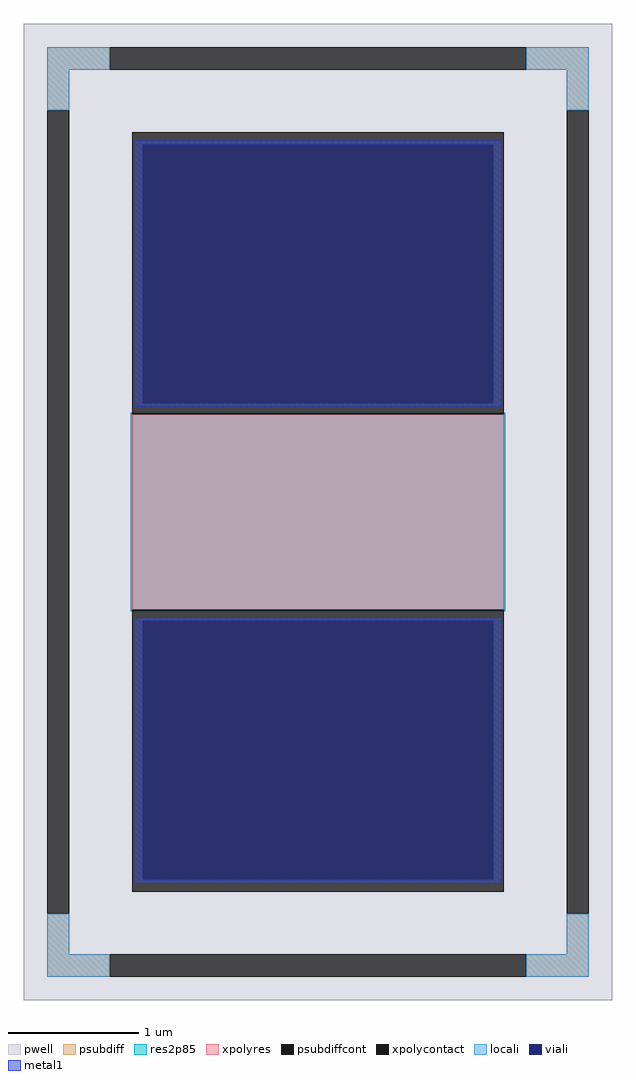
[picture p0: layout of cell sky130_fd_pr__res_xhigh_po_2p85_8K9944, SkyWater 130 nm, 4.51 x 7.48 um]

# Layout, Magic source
magic
tech sky130A
magscale 1 2
<< pwell >>
rect -451 -748 451 748
<< psubdiff >>
rect -415 678 -319 712
rect 319 678 415 712
rect -415 616 -381 678
rect 381 616 415 678
rect -415 -678 -381 -616
rect 381 -678 415 -616
rect -415 -712 -319 -678
rect 319 -712 415 -678
<< psubdiffcont >>
rect -319 678 319 712
rect -415 -616 -381 616
rect 381 -616 415 616
rect -319 -712 319 -678
<< xpolycontact >>
rect -285 150 285 582
rect -285 -582 285 -150
<< xpolyres >>
rect -285 -150 285 150
<< locali >>
rect -415 678 -319 712
rect 319 678 415 712
rect -415 616 -381 678
rect 381 616 415 678
rect -415 -678 -381 -616
rect 381 -678 415 -616
rect -415 -712 -319 -678
rect 319 -712 415 -678
<< viali >>
rect -269 167 269 564
rect -269 -564 269 -167
<< metal1 >>
rect -281 564 281 570
rect -281 167 -269 564
rect 269 167 281 564
rect -281 161 281 167
rect -281 -167 281 -161
rect -281 -564 -269 -167
rect 269 -564 281 -167
rect -281 -570 281 -564
<< res2p85 >>
rect -287 -152 287 152
<< properties >>
string FIXED_BBOX -398 -695 398 695
string gencell sky130_fd_pr__res_xhigh_po_2p85
string library sky130
string parameters w 2.850 l 1.5 m 1 nx 1 wmin 2.850 lmin 0.50 rho 2000 val 1.184k dummy 0 dw 0.0 term 188.2 sterm 0.0 caplen 0 wmax 2.850 guard 1 glc 1 grc 1 gtc 1 gbc 1 compatible {sky130_fd_pr__res_xhigh_po_0p35  sky130_fd_pr__res_xhigh_po_0p69 sky130_fd_pr__res_xhigh_po_1p41  sky130_fd_pr__res_xhigh_po_2p85 sky130_fd_pr__res_xhigh_po_5p73} full_metal 1 n_guard 0 hv_guard 0 vias 1 viagb 0 viagt 0 viagl 0 viagr 0
<< end >>
